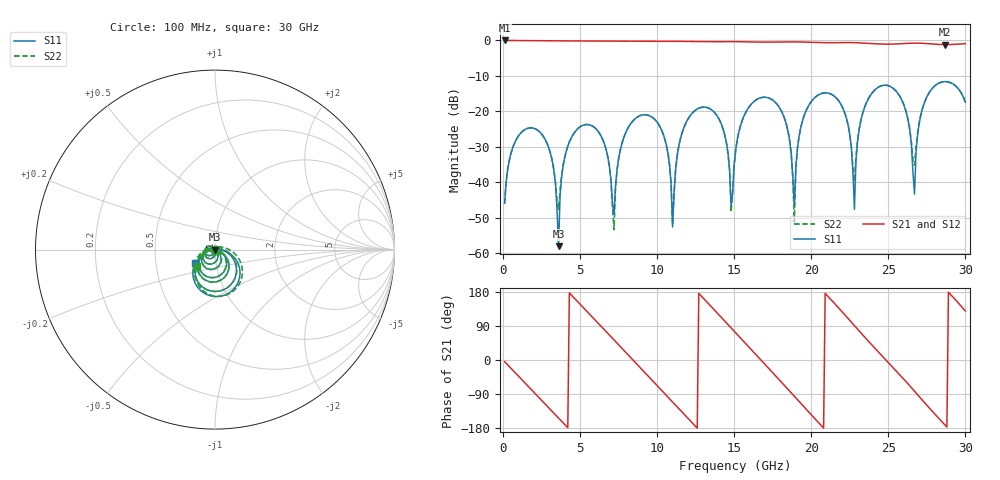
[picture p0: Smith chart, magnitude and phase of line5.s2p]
! Created Sun Feb 16 15:49:20 2025
! List of port names and net name(s): example Port n = <port_name> <net_name1> <net_name2> ...
! Port 1 = P1 P1
! Port 2 = P2 P1
# hz S ma R 50
! 2 Port Network Data from data block
! freq  magS11  angS11  magS21  angS21  magS12  angS12  magS22  angS22
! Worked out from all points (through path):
!   300 points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, 100 MHz to 30 GHz, reference 50 ohm
!   highest |S21| = -0.01 dB at 100 MHz (marker M1); lowest = -1.2 dB at 28.7 GHz (marker M2)
!   group delay of S21, straight-line fit = 121 ps
!   lowest |S11| = -58.1 dB at 3.6 GHz (marker M3), VSWR 1.00, Z = 50 - j0.123 ohm
!   |S11| at or under -10 dB: start of sweep to end of sweep
!   |S22| runs from -53.5 to -11.6 dB; largest |S21 - S12| = 0
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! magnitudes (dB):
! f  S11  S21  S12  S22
! 100 MHz  -46.0  0.0  0.0  -46.0
! 2.3 GHz  -25.5  -0.1  -0.1  -25.5
! 3.6 GHz  -58.1  -0.1  -0.1  -47.7
! 5.1 GHz  -24.1  -0.2  -0.2  -24.1
! 7.2 GHz  -49.2  -0.2  -0.2  -53.5
! 7.9 GHz  -26.7  -0.2  -0.2  -26.7
! 10.1 GHz  -23.8  -0.2  -0.2  -23.7
! 11 GHz  -52.7  -0.2  -0.2  -52.0
! 12.2 GHz  -20.9  -0.3  -0.3  -20.9
! 14.1 GHz  -23.0  -0.3  -0.3  -23.0
! 14.8 GHz  -46.8  -0.3  -0.3  -48.5
! 15.1 GHz  -30.8  -0.3  -0.3  -30.7
! 17.8 GHz  -18.1  -0.5  -0.5  -18.1
! 18.9 GHz  -46.7  -0.4  -0.4  -51.2
! 20.1 GHz  -16.7  -0.6  -0.6  -16.7
! 22.1 GHz  -19.6  -0.6  -0.6  -19.6
! 22.8 GHz  -47.7  -0.6  -0.6  -39.8
! 23.3 GHz  -21.2  -0.7  -0.7  -21.0
! 25.1 GHz  -13.0  -1.1  -1.1  -12.9
! 26.7 GHz  -43.4  -0.8  -0.8  -35.3
! 28.7 GHz  -11.6  -1.2  -1.2  -11.6
! 30 GHz  -17.4  -0.9  -0.9  -17.5
